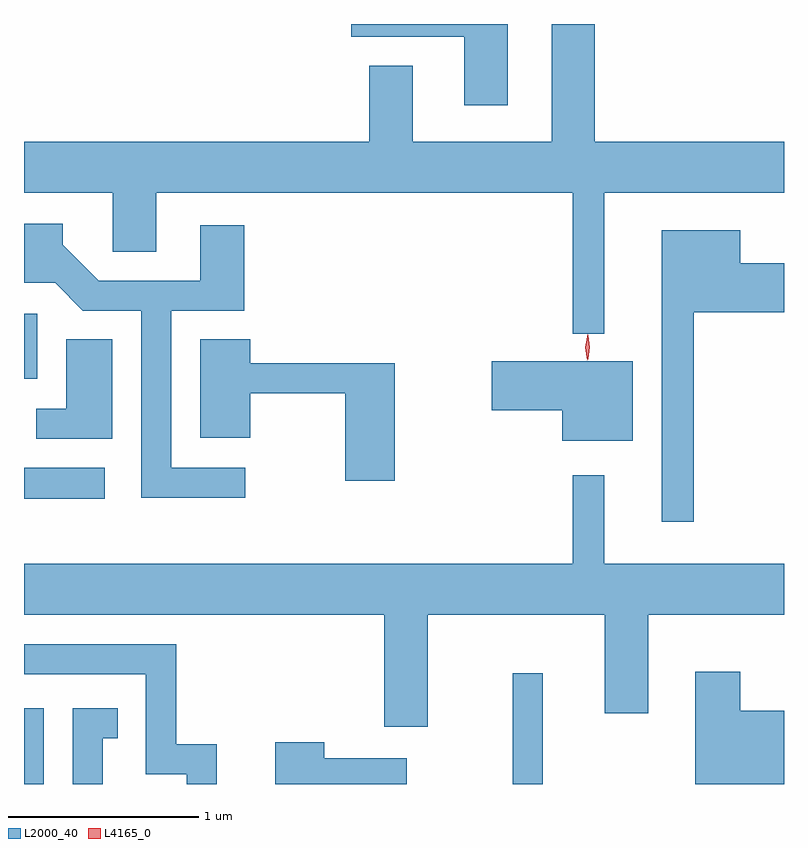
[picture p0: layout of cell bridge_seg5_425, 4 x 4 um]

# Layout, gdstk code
import gdstk
lib = gdstk.Library(unit=1e-6, precision=1e-09)
def R(c, l, rs):  # rectangles x0, y0, x1, y1
    for r in rs: c.add(gdstk.rectangle(r[:2], r[2:], *l))
def P(c, l, *ps):  # polygons
    for p in ps: c.add(gdstk.Polygon(p, *l))
L2000_40 = (2000, 40)
L4165_0 = (4165, 0)

bridge_seg5_425 = lib.new_cell('bridge_seg5_425')
R(bridge_seg5_425, L2000_40, [(306.074,1506.964,306.179,1507.364), (308.646,1506.964,308.804,1507.548), (306.074,1508.466,306.498,1508.629), (306.074,1509.096,306.144,1509.439)])
P(bridge_seg5_425, L2000_40, [(309.129,1510.076),(310.074,1510.076),(310.074,1510.344),(309.079,1510.344),(309.079,1510.964),(308.851,1510.964),(308.851,1510.344),(308.119,1510.344),(308.119,1510.744),(307.891,1510.744),(307.891,1510.344),(306.074,1510.344),(306.074,1510.076),(306.541,1510.076),(306.541,1509.766),(306.769,1509.766),(306.769,1510.076),(308.961,1510.076),(308.961,1509.333),(309.129,1509.333)],
  [(308.619,1510.964),(307.796,1510.964),(307.796,1510.896),(308.391,1510.896),(308.391,1510.536),(308.619,1510.536)],
  [(307.238,1508.629),(306.849,1508.629),(306.849,1509.456),(307.234,1509.456),(307.234,1509.904),(307.001,1509.904),(307.001,1509.614),(306.467,1509.614),(306.279,1509.802),(306.279,1509.914),(306.074,1509.914),(306.074,1509.601),(306.239,1509.601),(306.384,1509.456),(306.691,1509.456),(306.691,1508.471),(307.238,1508.471)],
  [(309.599,1509.446),(310.074,1509.446),(310.074,1509.704),(309.844,1509.704),(309.844,1509.879),(309.431,1509.879),(309.431,1508.343),(309.599,1508.343)],
  [(308.024,1509.179),(307.264,1509.179),(307.264,1509.304),(307.001,1509.304),(307.001,1508.786),(307.264,1508.786),(307.264,1509.021),(307.766,1509.021),(307.766,1508.561),(308.024,1508.561)],
  [(306.539,1509.304),(306.296,1509.304),(306.296,1508.939),(306.138,1508.939),(306.138,1508.781),(306.539,1508.781)],
  [(309.279,1509.189),(308.536,1509.189),(308.536,1508.931),(308.906,1508.931),(308.906,1508.771),(309.279,1508.771)],
  [(308.199,1507.856),(309.131,1507.856),(309.131,1507.336),(309.359,1507.336),(309.359,1507.856),(310.074,1507.856),(310.074,1508.124),(309.129,1508.124),(309.129,1508.588),(308.961,1508.588),(308.961,1508.124),(306.074,1508.124),(306.074,1507.856),(307.971,1507.856),(307.971,1507.266),(308.199,1507.266)],
  [(307.089,1507.174),(306.874,1507.174),(306.874,1507.699),(306.074,1507.699),(306.074,1507.541),(306.716,1507.541),(306.716,1507.016),(306.931,1507.016),(306.931,1506.964),(307.089,1506.964)],
  [(310.074,1507.349),(309.844,1507.349),(309.844,1507.554),(309.606,1507.554),(309.606,1506.964),(310.074,1506.964)],
  [(306.489,1507.206),(306.568,1507.206),(306.568,1507.364),(306.331,1507.364),(306.331,1506.964),(306.489,1506.964)],
  [(308.089,1507.099),(307.654,1507.099),(307.654,1507.184),(307.396,1507.184),(307.396,1506.964),(308.089,1506.964)])
P(bridge_seg5_425, L4165_0, [(309.042,1509.2),(309.042,1509.2),(309.032,1509.263),(309.042,1509.326),(309.042,1509.327),(309.043,1509.326),(309.052,1509.263),(309.043,1509.2)],
  [(309.038,1509.194),(309.038,1509.194),(309.029,1509.262),(309.04,1509.33),(309.04,1509.33),(309.04,1509.33),(309.049,1509.262),(309.039,1509.194)])

lib.write_gds('bridge_seg5_425.gds')
